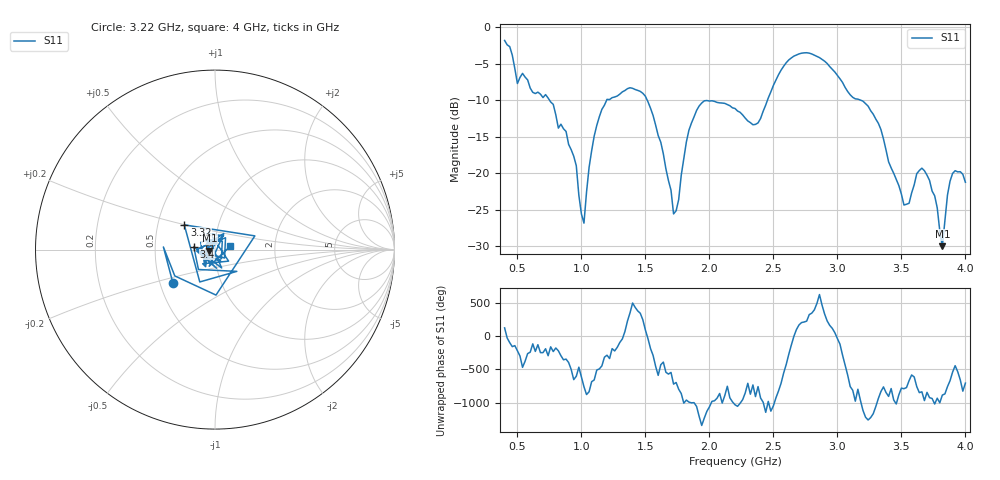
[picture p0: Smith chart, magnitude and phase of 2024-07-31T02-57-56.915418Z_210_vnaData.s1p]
!Created with skrf (http://scikit-rf.org).
# Hz S RI R 50.0
!freq ReS11 ImS11
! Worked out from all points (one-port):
!   181 points, 400 MHz to 4 GHz, reference 50 ohm
!   lowest |S11| = -30.0 dB at 3.82 GHz (marker M1), VSWR 1.07, Z = 47 - j0.628 ohm
!   |S11| at or under -10 dB: 750.7 MHz to 1.197 GHz (446.6 MHz wide, 45.9 % of centre); 1.514 GHz to 2.454 GHz (939.5 MHz wide, 47.4 % of centre); 3.182 GHz to end of sweep
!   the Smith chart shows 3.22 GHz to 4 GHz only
!   S11 on the Smith chart (normalised r, x): 3.22 GHz: 0.58, -0.24; 3.32 GHz: 0.68, +0.20; 3.4 GHz: 0.79, +0.03; 4 GHz: 1.18, +0.04
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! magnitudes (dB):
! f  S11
! 400 MHz  -1.8
! 500 MHz  -7.7
! 720 MHz  -9.2
! 860 MHz  -13.9
! 960 MHz  -19.0
! 1.02 GHz  -26.8
! 1.06 GHz  -19.2
! 1.12 GHz  -13.5
! 1.3 GHz  -9.2
! 1.5 GHz  -9.5
! 1.62 GHz  -15.7
! 1.72 GHz  -25.6
! 1.76 GHz  -23.6
! 1.84 GHz  -14.1
! 1.92 GHz  -10.8
! 2.2 GHz  -11.1
! 2.38 GHz  -13.1
! 2.66 GHz  -4.0
! 3.1 GHz  -9.3
! 3.22 GHz  -10.5
! 3.32 GHz  -13.2
! 3.4 GHz  -18.4
! 3.56 GHz  -24.1
! 3.68 GHz  -19.7
! 3.76 GHz  -23.1
! 3.82 GHz  -30.0
! 3.9 GHz  -20.0
! 4 GHz  -21.2
